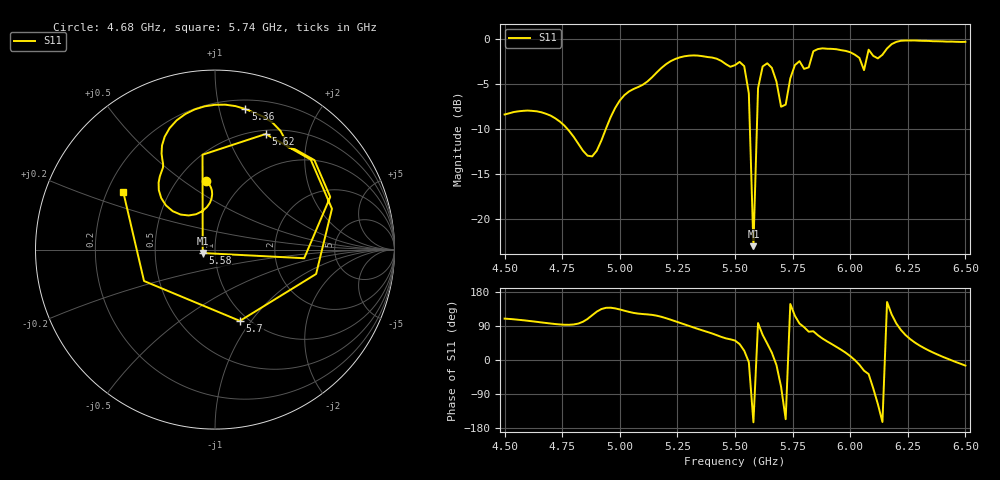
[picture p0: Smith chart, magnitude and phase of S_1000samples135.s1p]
! TOUCHSTONE file generated by CST MICROWAVE STUDIO
! Date and time: Thu Oct 27 03:05:58 2022
! Project name: L.cst
! Parameters = {Di=1.27; Epsilon_r=1.56; InnerDiameter=1.27; Length=2; Lf=10; Lg=60; OuterConductorThickness=0.2921; OuterDiameter=3.6; Wf=3; Wp=41.2; de=1.5; df=6.8; g=0.8; gx=1.55163; gy=0.949475; h=2.34; hf=1.524; px=14.961; py=13.7057; w=9.7; wx=13.4093; wy=12.7563}
! Header version: 2018
! Port assignment regex: !\s*Touchstone port\s*([0-9]+)\s*=\s*(CST MWS port|CST DS port)\s*([0-9]+|Zmin|Zmax)\s*\(\"(.*)\"\)(\s*mode\s*([0-9]+))?.*
! Touchstone port assignment:
! Touchstone port 1 = CST MWS port 1 ("")
# GHz S DB R 50
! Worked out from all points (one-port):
!   101 points, 4.5 GHz to 6.5 GHz, reference 50 ohm
!   lowest |S11| = -23.0 dB at 5.58 GHz (marker M1), VSWR 1.15, Z = 43.6 - j1.67 ohm
!   |S11| at or under -10 dB: 4.773 GHz to 4.939 GHz (165.9 MHz wide, 3.42 % of centre); 5.565 GHz to 5.595 GHz (30.13 MHz wide, 0.54 % of centre)
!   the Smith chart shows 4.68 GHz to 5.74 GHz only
!   S11 on the Smith chart (normalised r, x): 4.68 GHz: 0.68, +0.61; 5.36 GHz: 0.27, +1.20; 5.58 GHz: 0.87, -0.03; 5.62 GHz: 0.54, +1.39; 5.7 GHz: 0.91, -0.88; 5.74 GHz: 0.27, +0.27
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4.5  -8.38 109.2
4.68  -8.30 97.7
4.76  -9.62 93.0
4.88  -13.02 118.1
5  -6.83 133.4
5.26  -2.06 98.3
5.36  -1.92 77.8
5.5  -2.91 51.4
5.56  -6.03 -5.5
5.58  -22.96 -164.4
5.6  -5.46 97.5
5.62  -3.06 66.3
5.66  -3.22 19.2
5.68  -4.74 -13.5
5.7  -7.52 -70.7
5.72  -7.28 -156.1
5.74  -4.38 147.8
5.76  -2.91 116.7
5.86  -1.13 65.2
6  -1.48 10.3
6.08  -1.20 -37.1
6.1  -1.89 -74.8
6.12  -2.17 -116.2
6.14  -1.76 -163.6
6.18  -0.59 120.2
6.26  -0.19 55.4
6.36  -0.26 19.6
6.5  -0.33 -14.7
